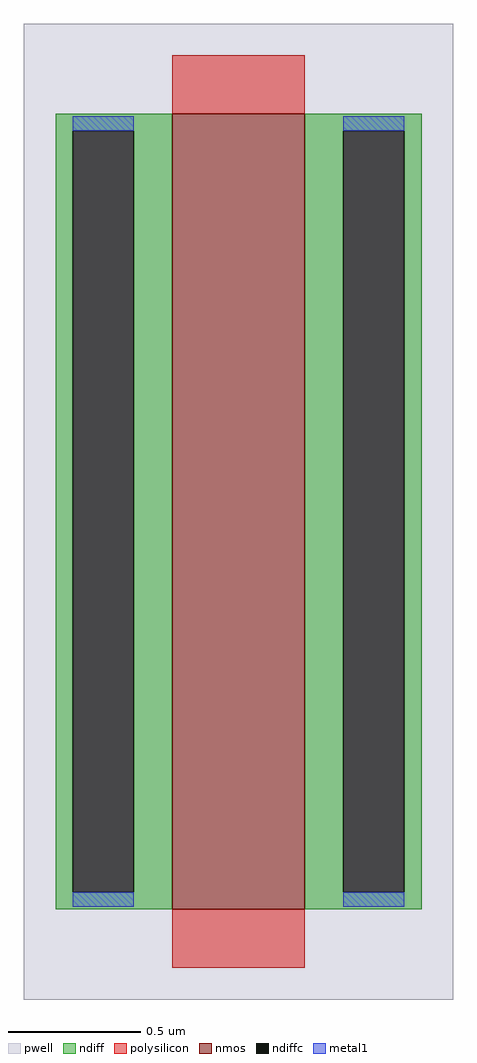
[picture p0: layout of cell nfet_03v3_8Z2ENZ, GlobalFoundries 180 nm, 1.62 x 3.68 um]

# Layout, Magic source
magic
tech gf180mcuC
magscale 1 10
<< pwell >>
rect -162 -368 162 368
<< nmos >>
rect -50 -300 50 300
<< ndiff >>
rect -138 287 -50 300
rect -138 -287 -125 287
rect -79 -287 -50 287
rect -138 -300 -50 -287
rect 50 287 138 300
rect 50 -287 79 287
rect 125 -287 138 287
rect 50 -300 138 -287
<< ndiffc >>
rect -125 -287 -79 287
rect 79 -287 125 287
<< polysilicon >>
rect -50 300 50 344
rect -50 -344 50 -300
<< metal1 >>
rect -125 287 -79 298
rect -125 -298 -79 -287
rect 79 287 125 298
rect 79 -298 125 -287
<< properties >>
string gencell nfet_03v3
string library gf180mcu
string parameters w 3 l 0.5 m 1 nf 1 diffcov 100 polycov 100 guard 0 glc 0 grc 0 gtc 0 gbc 0 tbcov 100 rlcov 100 topc 0 botc 0 poverlap 0 doverlap 1 lmin 0.28 wmin 0.22 full_metal 0 compatible {nfet_03v3 nfet_06v0 nfet_06v0_nvt}
<< end >>
